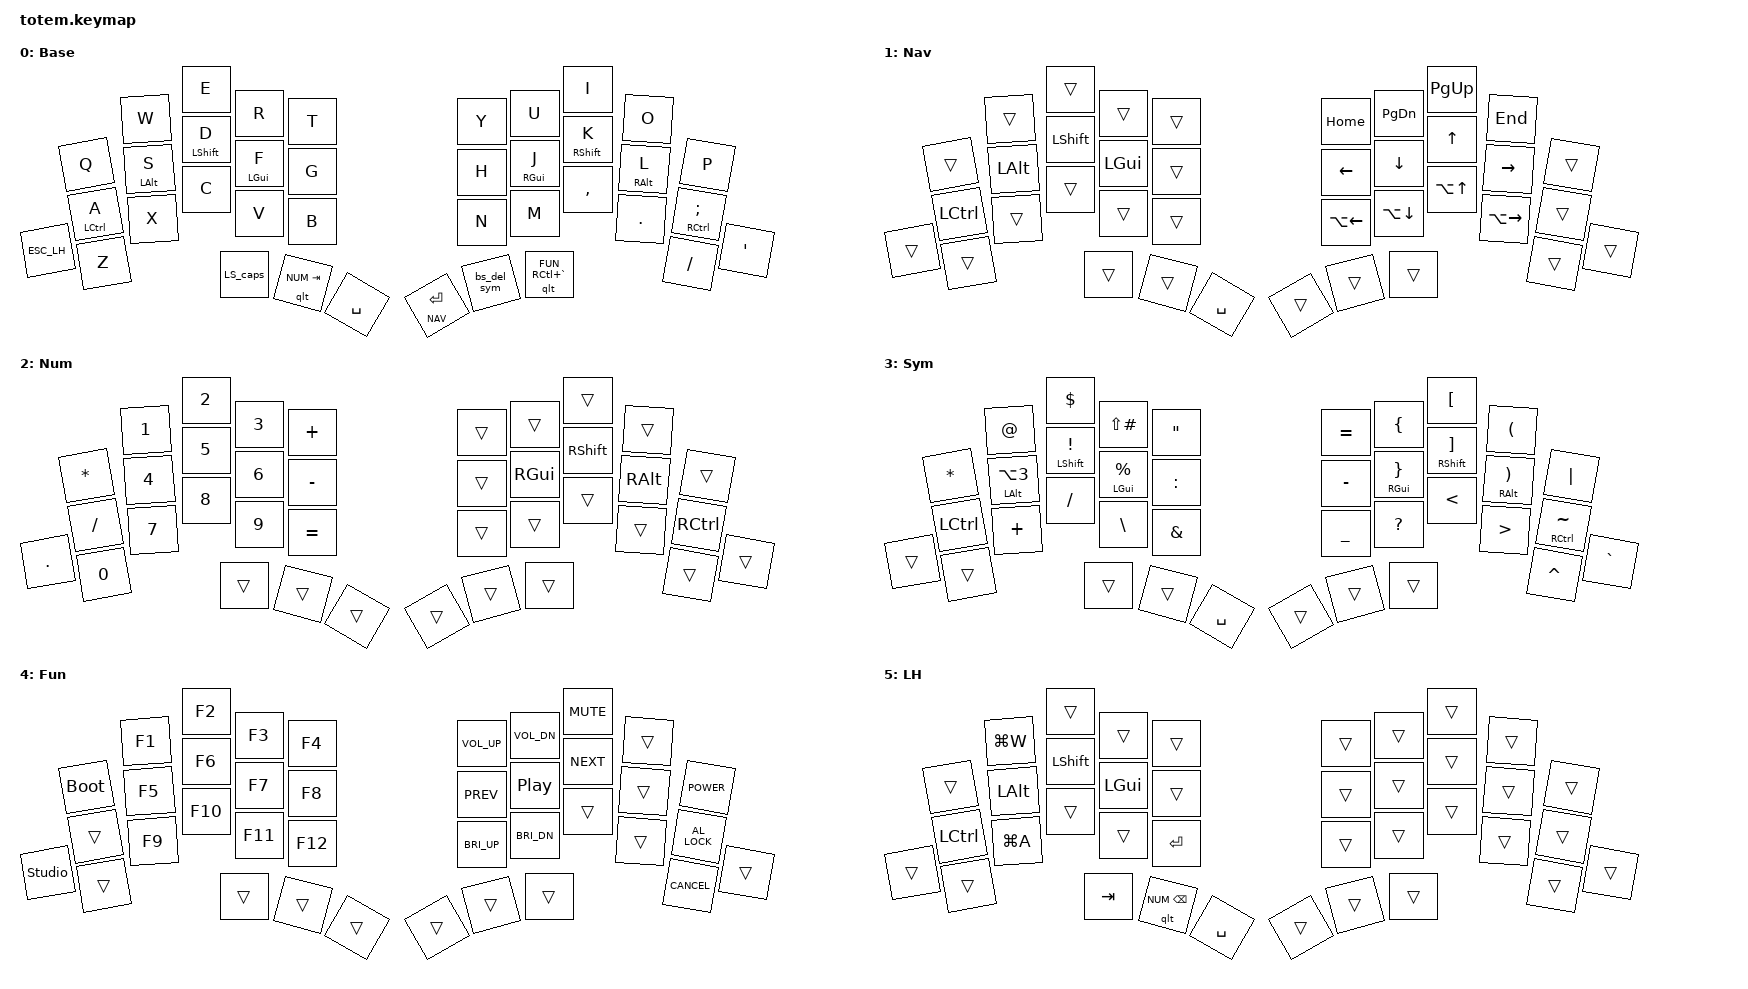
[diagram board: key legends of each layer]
//
//                                                        ▀▀▀▀▀     ▀▀▀▀▀          ▀▀█▀▀
//                                                        ▄▀▀▀▄  ▄  ▄▀▀▀▄  ▄  ▄▀▀▀▄  █  ▄▀▀▀▄
//                                                        █   █  █  █   █  █  █   █  █  █   █
//                                                         ▀▀▀   █   ▀▀▀   █   ▀▀▀   ▀   ▀▀▀
//                                                               █      ▄▄▄█▄▄▄    █   █
//                                                               ▀      █  █  █     █▄█
//                                                             ▀▀▀▀▀    █  █  █      ▀
//                                                                      ▀  ▀  ▀
//
// ▄▄▄▄▄▄▄▄▄▄▄▄▄▄▄▄▄▄▄▄▄▄▄▄▄▄▄▄▄▄▄▄▄▄▄▄▄▄▄▄▄▄▄▄▄▄▄▄▄▄▄▄▄▄▄▄▄▄▄▄▄▄▄▄▄▄▄▄▄▄▄▄▄▄▄▄▄▄▄▄▄▄▄▄▄▄▄▄▄▄▄▄▄▄▄▄▄▄▄▄▄▄▄▄▄▄▄▄▄▄▄▄▄▄▄▄▄▄▄▄▄▄▄▄▄▄▄▄▄▄▄▄▄▄▄▄▄▄▄▄▄▄▄▄▄▄▄▄▄



#define HOST_OS                    2
#define ZMK_HELPERS_KEEP_NATIVE    0

#include <behaviors.dtsi>
#include <behaviors/num_word.dtsi>
#include <dt-bindings/zmk/keys.h>
#include "zmk-helpers/helper.h"
#include "zmk-helpers/key-labels/totem.h"
// #include "zmk-helpers/unicode-chars/italian.dtsi"

#define ______ &trans

#define DEF   0
#define NAV   1
#define NUM   2
#define SYM   3
#define FUN   4
#define LH    5

/* Timing constants */

#define HOMEROW_TAP_MS    280
#define TDANCE_TAP_MS     200
#define QUICK_TAP_MS      175
#define PRIOR_IDLE_MS     150

/* Timeless homerow mods */
// https://github.com/urob/zmk-config/tree/main#timeless-homerow-mods

#define KEYS_L LT0 LT1 LT2 LT3 LT4 LM0 LM1 LM2 LM3 LM4 LB0 LB1 LB2 LB3 LB4 LB5  // left hand
#define KEYS_R RT0 RT1 RT2 RT3 RT4 RM0 RM1 RM2 RM3 RM4 RB0 RB1 RB2 RB3 RB4 RB5  // right hand
#define THUMBS LH0 LH1 LH2 RH0 RH1 RH2  // thumbs

ZMK_HOLD_TAP(hml,
    flavor = "balanced";
    tapping-term-ms = <HOMEROW_TAP_MS>;
    require-prior-idle-ms = <PRIOR_IDLE_MS>;
    hold-trigger-key-positions = <KEYS_R THUMBS>;
    hold-trigger-on-release;
    bindings = <&kp>, <&kp>;
)

ZMK_HOLD_TAP(hmr,
    flavor = "balanced";
    tapping-term-ms = <HOMEROW_TAP_MS>;
    require-prior-idle-ms = <PRIOR_IDLE_MS>;
    hold-trigger-key-positions = <KEYS_L THUMBS>;
    hold-trigger-on-release;
    bindings = <&kp>, < &kp >;
)

ZMK_HOLD_TAP(qlt,
    flavor = "balanced";
    tapping-term-ms = <175>;
    bindings = <&mo>, <&kp>;
    quick-tap-ms = <QUICK_TAP_MS>;
    display-name = "Quick Layer-Tap";
)

// tap: backspace | shift + tap: delete | hold: num layer
ZMK_MOD_MORPH(bs_del_sym,
    bindings = <&qlt SYM BSPC>, <&kp DEL>;
mods = <(MOD_LSFT | MOD_RSFT)>;
)

// tap: shift | double-tap: caps word
ZMK_TAP_DANCE(LS_caps,
    tapping-term-ms = <TDANCE_TAP_MS>;
    bindings = <&kp LSHIFT>, <&caps_word>;
)

// tap: grave accent | shift + tap: acute accent
ZMK_MOD_MORPH(grave_acute,
    bindings = <&kp LA(GRAVE)>, <&kp LA(E)>;
    mods = <(MOD_LSFT | MOD_RSFT)>;
)

// Tap: num-word | double-tap: sticky num-layer | Hold: num-layer.
#define SMART_NUM &smart_num NUM 0
ZMK_HOLD_TAP(smart_num, bindings = <&mo>, <&num_dance>; flavor = "balanced";
             tapping-term-ms = <TDANCE_TAP_MS>; quick-tap-ms = <QUICK_TAP_MS>;)
ZMK_TAP_DANCE(num_dance, bindings = <&num_word NUM>, <&sl NUM>;
              tapping-term-ms = <TDANCE_TAP_MS>;)

ZMK_COMBO(smart_num,  SMART_NUM,     RB0 RB1, NUM)  // smart_num, active on base
ZMK_COMBO(copy,       &kp LG(C),     LT0 LT1, ALL)  // copy, active on all layers
ZMK_COMBO(cut,        &kp LG(X),     LT2 LM2, ALL)  // cut, active on all layers
ZMK_COMBO(paste,      &kp LG(V),     LT1 LM1, ALL)  // paste, active on all layers
ZMK_COMBO(clipboard,  &kp LA(LG(C)), LT3 LM3, ALL)  // clipboard, active on all layers
ZMK_COMBO(spotlight,  &kp LG(SPACE), RM0 RM1, DEF)  // spotlight, active on base
ZMK_COMBO(vscode_cmd, &kp LS(LG(P)), LM0 LM1, DEF)  // vscode command palette, active on base
ZMK_COMBO(undo,       &kp LG(Z),     LT0 LM0, DEF LH)  // undo, active on base
ZMK_COMBO(redo,       &kp LG(LS(Z)), LB0 LM0, DEF LH)  // redo, active on base
ZMK_COMBO(undo_2,     &kp LG(Z),     RT0 RM0, DEF)  // undo, active on base
ZMK_COMBO(redo_2,     &kp LG(LS(Z)), RB0 RM0, DEF)  // redo, active on base
ZMK_COMBO(next_win,   &kp LG(GRAVE), LM1 LB1, DEF LH)  // next window, active on base
ZMK_COMBO(save,       &kp LG(S), LM3 LB3, DEF LH)  // save, active on base

ZMK_COMBO(accent_grave_acute, &grave_acute, RB1 RM1, DEF)

ZMK_TAP_DANCE(ESC_LH,
    tapping-term-ms = <TDANCE_TAP_MS>;
    bindings = <&kp ESC>, <&tog LH>;
)

&num_word {
  continue-list = <BACKSPACE DELETE DOT COMMA PLUS MINUS STAR FSLH EQUAL SPACE LT GT DLLR COLON>;
};


/ {
    keymap {
        compatible = "zmk,keymap";

        base_layer {
            display-name = "Base";
            bindings = <
         &kp Q         &kp W        &kp E         &kp R         &kp T              &kp Y          &kp U        &kp I              &kp O        &kp P
         &hml LCTRL A  &hml LALT S  &hml LSHFT D  &hml LGUI F   &kp G              &kp H          &hmr RGUI J  &hmr RSHFT K       &hmr RALT L  &hmr RCTRL SEMI
&ESC_LH  &kp Z         &kp X        &kp C         &kp V         &kp B              &kp N          &kp M        &kp COMMA          &kp DOT      &kp SLASH        &kp APOS
                                    &LS_caps      &qlt NUM TAB  &kp SPACE          &lt NAV ENTER  &bs_del_sym  &qlt FUN RC(GRAVE)
            >;
        };

        nav_layer {
            display-name = "Nav";
            bindings = <
        ______     ______    ______     ______      ______        &kp HOME      &kp PG_DN     &kp PG_UP   &kp END        ______
        &kp LCTRL  &kp LALT  &kp LSHFT  &kp LGUI    ______        &kp LEFT      &kp DOWN      &kp UP      &kp RIGHT      ______
______  ______     ______    ______     ______      ______        &kp LA(LEFT)  &kp LA(DOWN)  &kp LA(UP)  &kp LA(RIGHT)  ______  ______
                             ______     ______      &kp SPACE     ______        ______        ______
            >;
        };

        num_layer {
            display-name = "Num";
            bindings = <
         &kp STAR  &kp N1  &kp N2  &kp N3   &kp PLUS       ______  ______    ______     ______    ______
         &kp FSLH  &kp N4  &kp N5  &kp N6   &kp MINUS      ______  &kp RGUI  &kp RSHFT  &kp RALT  &kp RCTRL
&kp DOT  &kp N0    &kp N7  &kp N8  &kp N9   &kp EQUAL      ______  ______    ______     ______    ______     ______
                               ______  ______  ______      ______  ______    ______
            >;
        };

        sym_layer {
            display-name = "Sym";
            bindings = <
        &kp STAR   &kp  AT           &kp DLLR         &kp LS(POUND)    &kp DQT           &kp EQUAL  &kp LBRC        &kp LBKT         &kp LPAR        &kp PIPE
        &kp LCTRL  &hml LALT LA(N3)  &hml LSHFT EXCL  &hml LGUI PRCNT  &kp COLON         &kp MINUS  &hmr RGUI RBRC  &hmr RSHFT RBKT  &hmr RALT RPAR  &hmr RCTRL TILDE
______  ______     &kp  PLUS         &kp FSLH         &kp BSLH         &kp AMPS          &kp UNDER  &kp QMARK       &kp LT           &kp GT          &kp CARET         &kp GRAVE
                                     ______           ______           &kp SPACE         ______     ______          ______
            >;
        };

        fun_layer {
            display-name = "Fun";
            bindings = <
                &bootloader  &kp F1  &kp F2   &kp F3   &kp F4       &kp C_VOL_UP  &kp C_VOL_DN  &kp C_MUTE  ______  &kp C_POWER
                ______       &kp F5  &kp F6   &kp F7   &kp F8       &kp C_PREV    &kp C_PP      &kp C_NEXT  ______  &kp C_AL_LOCK
&studio_unlock  ______       &kp F9  &kp F10  &kp F11  &kp F12      &kp C_BRI_UP  &kp C_BRI_DN  ______      ______  &kp K_CANCEL   ______
                                     ______   ______   ______       ______        ______        ______
            >;
        };

        lh_layer {
            display-name = "LH";
            bindings = <
        ______     &kp LG(W) ______     ______         ______         ______  ______  ______  ______  ______
        &kp LCTRL  &kp LALT &kp LSHFT  &kp LGUI       ______         ______  ______  ______  ______  ______
______  ______   &kp LG(A)  ______    ______          &kp ENTER         ______  ______  ______  ______  ______  ______
                             &kp TAB   &qlt NUM BSPC  &kp SPACE      ______  ______  ______
            >;
        };
    };
};
